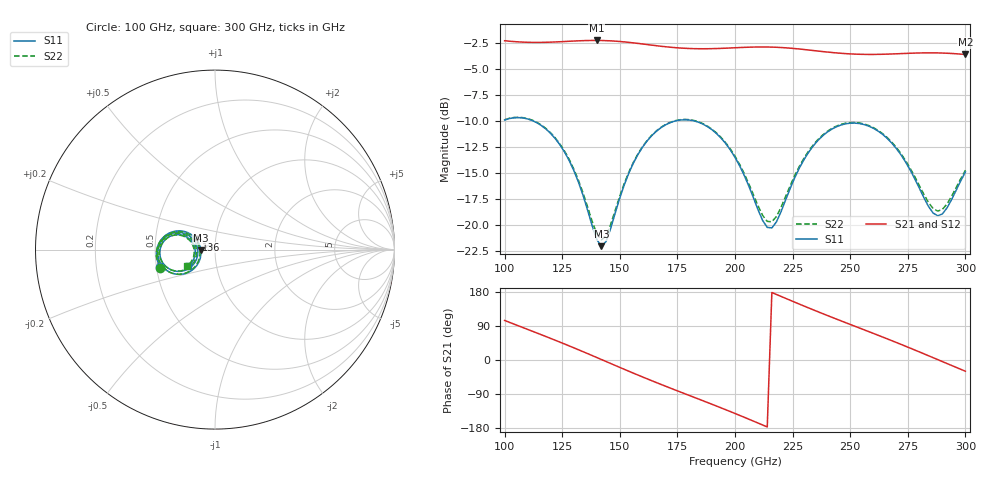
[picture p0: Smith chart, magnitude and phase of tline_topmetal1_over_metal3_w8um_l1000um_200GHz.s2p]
#  GHZ S DB R 50
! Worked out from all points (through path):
!   101 points, 100 GHz to 300 GHz, reference 50 ohm
!   highest |S21| = -2.26 dB at 140 GHz (marker M1); lowest = -3.6 dB at 300 GHz (marker M2)
!   group delay of S21, straight-line fit = 6.86 ps
!   lowest |S11| = -22.1 dB at 142 GHz (marker M3), VSWR 1.17, Z = 42.7 - j0.385 ohm
!   |S11| at or under -10 dB: 112.2 GHz to 174.5 GHz (62.28 GHz wide, 43.4 % of centre); 182.1 GHz to end of sweep
!   |S22| runs from -21.5 to -9.7 dB; largest |S21 - S12| = 1.3e-12
!   S11 on the Smith chart (normalised r, x): 100 GHz: 0.53, -0.11; 136 GHz: 0.81, +0.09; 300 GHz: 0.72, -0.14
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100  -9.92 -162.4  -2.29 104.4  -2.29 104.4  -9.90 -161.8
108  -9.73 -177.6  -2.42 85.5  -2.42 85.5  -9.70 -176.8
118  -10.81 164.3  -2.44 61.8  -2.44 61.8  -10.75 165.4
126  -13.01 152.1  -2.36 42.3  -2.36 42.3  -12.91 153.5
134  -17.15 148.2  -2.28 22.1  -2.28 22.1  -16.92 150.3
136  -18.59 151.1  -2.27 16.9  -2.27 16.9  -18.28 153.2
140  -21.44 168.2  -2.26 6.6  -2.26 6.6  -20.89 169.6
142  -22.08 -176.7  -2.27 1.3  -2.27 1.3  -21.47 -176.6
154  -15.00 -138.3  -2.45 -29.9  -2.45 -29.9  -14.90 -139.3
168  -10.64 -156.9  -2.82 -64.7  -2.82 -64.7  -10.61 -157.0
184  -10.13 175.7  -3.06 -102.6  -3.06 -102.6  -10.09 176.3
200  -13.52 153.4  -2.97 -141.1  -2.97 -141.1  -13.41 154.9
212  -19.61 166.9  -2.89 -171.5  -2.89 -171.5  -19.12 168.6
216  -20.32 -171.1  -2.90 178.1  -2.90 178.1  -19.73 -171.3
224  -16.49 -145.0  -3.01 157.5  -3.01 157.5  -16.23 -146.6
234  -12.41 -149.5  -3.23 132.3  -3.23 132.3  -12.31 -150.4
250  -10.23 -173.1  -3.56 93.9  -3.56 93.9  -10.17 -173.2
260  -10.72 171.6  -3.61 70.3  -3.61 70.3  -10.65 171.9
268  -12.14 161.1  -3.56 51.1  -3.56 51.1  -12.05 161.8
278  -15.58 156.4  -3.48 26.4  -3.48 26.4  -15.37 157.5
288  -19.15 -177.1  -3.46 1.0  -3.46 1.0  -18.70 -177.2
300  -14.93 -148.4  -3.61 -29.6  -3.61 -29.6  -14.76 -149.8
